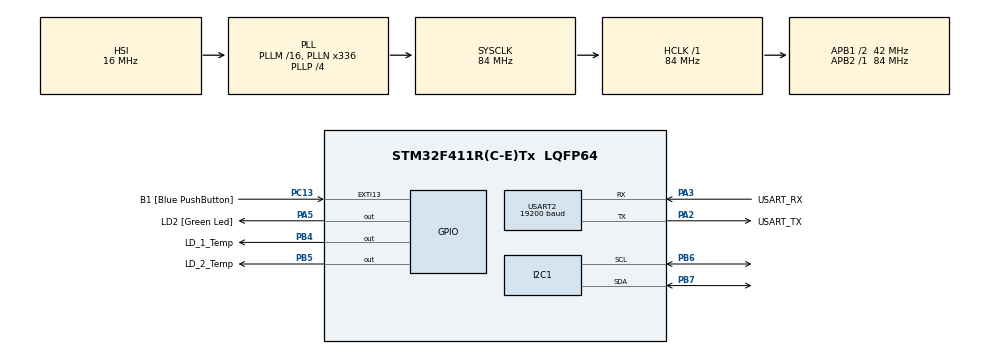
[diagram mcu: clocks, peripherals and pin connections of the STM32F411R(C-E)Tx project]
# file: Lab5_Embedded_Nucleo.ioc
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Mcu.Family=STM32F4
Mcu.Name=STM32F411R(C-E)Tx
Mcu.Package=LQFP64
NVIC.PriorityGroup=NVIC_PRIORITYGROUP_0
PA13.GPIO_Label=TMS
PA13.Mode=Serial_Wire
PA13.Signal=SYS_JTMS-SWDIO
PA14.GPIO_Label=TCK
PA14.Mode=Serial_Wire
PA14.Signal=SYS_JTCK-SWCLK
PA2.GPIO_Label=USART_TX
PA2.Mode=Asynchronous
PA2.Signal=USART2_TX
PA3.GPIO_Label=USART_RX
PA3.Mode=Asynchronous
PA3.Signal=USART2_RX
PA5.GPIO_Label=LD2 [Green Led]
PA5.Signal=GPIO_Output
PB3.GPIO_Label=SWO
PB3.Signal=SYS_JTDO-SWO
PB4.GPIO_Label=LD_1_Temp
PB4.Signal=GPIO_Output
PB5.GPIO_Label=LD_2_Temp
PB5.Signal=GPIO_Output
PB6.Mode=I2C
PB6.Signal=I2C1_SCL
PB7.Mode=I2C
PB7.Signal=I2C1_SDA
PC13-ANTI_TAMP.GPIO_Label=B1 [Blue PushButton]
PC13-ANTI_TAMP.GPIO_ModeDefaultEXTI=GPIO_MODE_IT_FALLING
PC13-ANTI_TAMP.Signal=GPXTI13
PC14-OSC32_IN.Mode=LSE-External-Oscillator
PC14-OSC32_IN.Signal=RCC_OSC32_IN
PC15-OSC32_OUT.Mode=LSE-External-Oscillator
PC15-OSC32_OUT.Signal=RCC_OSC32_OUT
PH0\ -\ OSC_IN.Mode=HSE-External-Clock-Source
PH0\ -\ OSC_IN.Signal=RCC_OSC_IN
PH1\ -\ OSC_OUT.Mode=HSE-External-Clock-Source
PH1\ -\ OSC_OUT.Signal=RCC_OSC_OUT
ProjectManager.HeapSize=0x200
ProjectManager.StackSize=0x400
ProjectManager.TargetToolchain=STM32CubeIDE
RCC.48MHZClocksFreq_Value=84000000
RCC.AHBFreq_Value=84000000
RCC.APB1CLKDivider=RCC_HCLK_DIV2
RCC.APB1Freq_Value=42000000
RCC.APB1TimFreq_Value=84000000
RCC.APB2Freq_Value=84000000
RCC.APB2TimFreq_Value=84000000
RCC.CortexFreq_Value=84000000
RCC.FLatency-AdvancedSettings=FLASH_LATENCY_2
RCC.HCLKFreq_Value=84000000
RCC.HSE_VALUE=8000000
RCC.HSI_VALUE=16000000
RCC.PLLN=336
RCC.PLLP=RCC_PLLP_DIV4
RCC.SYSCLKFreq_VALUE=84000000
RCC.SYSCLKSource=RCC_SYSCLKSOURCE_PLLCLK
RCC.VCOOutputFreq_Value=336000000
USART2.BaudRate=19200
USART2.VirtualMode=VM_ASYNC
board=NUCLEO-F411RE

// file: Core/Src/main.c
/* USER CODE BEGIN Header */
/**
  ******************************************************************************
  * @file           : main.c
  * @brief          : Main program body
  ******************************************************************************
  * @attention
  *
  * Copyright (c) 2023 STMicroelectronics.
  * All rights reserved.
  *
  * This software is licensed under terms that can be found in the LICENSE file
  * in the root directory of this software component.
  * If no LICENSE file comes with this software, it is provided AS-IS.
  *
  ******************************************************************************
  */
/* USER CODE END Header */
#include "main.h"

/* USER CODE BEGIN Includes */
//#include <stdio.h>
//#include <string.h>
/* USER CODE END Includes */

I2C_HandleTypeDef hi2c1;

UART_HandleTypeDef huart2;

void SystemClock_Config(void);
static void MX_GPIO_Init(void);
static void MX_USART2_UART_Init(void);
static void MX_I2C1_Init(void);

int main(void)
{

  /* MCU Configuration--------------------------------------------------------*/

  /* Reset of all peripherals, Initializes the Flash interface and the Systick. */
  HAL_Init();

  /* Configure the system clock */
  SystemClock_Config();

  /* Initialize all configured peripherals */
  MX_GPIO_Init();
  MX_USART2_UART_Init();
  MX_I2C1_Init();

  /* Infinite loop */
  /* USER CODE BEGIN WHILE */
  while (1)
    {
	uint8_t buffer[1];
	HAL_StatusTypeDef result;

	result = HAL_UART_Receive(&huart2, buffer, 1, 10);

	if(result == HAL_OK){
		if(buffer[0] < 15){
			HAL_GPIO_WritePin(GPIOB, LD_1_Temp_Pin, GPIO_PIN_SET);
			HAL_GPIO_WritePin(GPIOB, LD_2_Temp_Pin, GPIO_PIN_RESET);
		} else{
			HAL_GPIO_WritePin(GPIOB, LD_1_Temp_Pin, GPIO_PIN_SET);
			HAL_GPIO_WritePin(GPIOB, LD_2_Temp_Pin, GPIO_PIN_SET);
		}
	}
    /* USER CODE END WHILE */

    }
}

void SystemClock_Config(void)
{
  RCC_OscInitTypeDef RCC_OscInitStruct = {0};
  RCC_ClkInitTypeDef RCC_ClkInitStruct = {0};

  /** Configure the main internal regulator output voltage
  */
  __HAL_RCC_PWR_CLK_ENABLE();
  __HAL_PWR_VOLTAGESCALING_CONFIG(PWR_REGULATOR_VOLTAGE_SCALE1);

  /** Initializes the RCC Oscillators according to the specified parameters
  * in the RCC_OscInitTypeDef structure.
  */
  RCC_OscInitStruct.OscillatorType = RCC_OSCILLATORTYPE_HSI;
  RCC_OscInitStruct.HSIState = RCC_HSI_ON;
  RCC_OscInitStruct.HSICalibrationValue = RCC_HSICALIBRATION_DEFAULT;
  RCC_OscInitStruct.PLL.PLLState = RCC_PLL_ON;
  RCC_OscInitStruct.PLL.PLLSource = RCC_PLLSOURCE_HSI;
  RCC_OscInitStruct.PLL.PLLM = 16;
  RCC_OscInitStruct.PLL.PLLN = 336;
  RCC_OscInitStruct.PLL.PLLP = RCC_PLLP_DIV4;
  RCC_OscInitStruct.PLL.PLLQ = 4;
  if (HAL_RCC_OscConfig(&RCC_OscInitStruct) != HAL_OK)
  {
    Error_Handler();
  }

  /** Initializes the CPU, AHB and APB buses clocks
  */
  RCC_ClkInitStruct.ClockType = RCC_CLOCKTYPE_HCLK|RCC_CLOCKTYPE_SYSCLK
                              |RCC_CLOCKTYPE_PCLK1|RCC_CLOCKTYPE_PCLK2;
  RCC_ClkInitStruct.SYSCLKSource = RCC_SYSCLKSOURCE_PLLCLK;
  RCC_ClkInitStruct.AHBCLKDivider = RCC_SYSCLK_DIV1;
  RCC_ClkInitStruct.APB1CLKDivider = RCC_HCLK_DIV2;
  RCC_ClkInitStruct.APB2CLKDivider = RCC_HCLK_DIV1;

  if (HAL_RCC_ClockConfig(&RCC_ClkInitStruct, FLASH_LATENCY_2) != HAL_OK)
  {
    Error_Handler();
  }
}

static void MX_I2C1_Init(void)
{

  hi2c1.Instance = I2C1;
  hi2c1.Init.ClockSpeed = 100000;
  hi2c1.Init.DutyCycle = I2C_DUTYCYCLE_2;
  hi2c1.Init.OwnAddress1 = 0;
  hi2c1.Init.AddressingMode = I2C_ADDRESSINGMODE_7BIT;
  hi2c1.Init.DualAddressMode = I2C_DUALADDRESS_DISABLE;
  hi2c1.Init.OwnAddress2 = 0;
  hi2c1.Init.GeneralCallMode = I2C_GENERALCALL_DISABLE;
  hi2c1.Init.NoStretchMode = I2C_NOSTRETCH_DISABLE;
  if (HAL_I2C_Init(&hi2c1) != HAL_OK)
  {
    Error_Handler();
  }

}

static void MX_USART2_UART_Init(void)
{

  huart2.Instance = USART2;
  huart2.Init.BaudRate = 19200;
  huart2.Init.WordLength = UART_WORDLENGTH_8B;
  huart2.Init.StopBits = UART_STOPBITS_1;
  huart2.Init.Parity = UART_PARITY_NONE;
  huart2.Init.Mode = UART_MODE_TX_RX;
  huart2.Init.HwFlowCtl = UART_HWCONTROL_NONE;
  huart2.Init.OverSampling = UART_OVERSAMPLING_16;
  if (HAL_UART_Init(&huart2) != HAL_OK)
  {
    Error_Handler();
  }

}

static void MX_GPIO_Init(void)
{
  GPIO_InitTypeDef GPIO_InitStruct = {0};

  /* GPIO Ports Clock Enable */
  __HAL_RCC_GPIOC_CLK_ENABLE();
  __HAL_RCC_GPIOH_CLK_ENABLE();
  __HAL_RCC_GPIOA_CLK_ENABLE();
  __HAL_RCC_GPIOB_CLK_ENABLE();

  /*Configure GPIO pin Output Level */
  HAL_GPIO_WritePin(LD2_GPIO_Port, LD2_Pin, GPIO_PIN_RESET);

  /*Configure GPIO pin Output Level */
  HAL_GPIO_WritePin(GPIOB, LD_1_Temp_Pin|LD_2_Temp_Pin, GPIO_PIN_RESET);

  /*Configure GPIO pin : B1_Pin */
  GPIO_InitStruct.Pin = B1_Pin;
  GPIO_InitStruct.Mode = GPIO_MODE_IT_FALLING;
  GPIO_InitStruct.Pull = GPIO_NOPULL;
  HAL_GPIO_Init(B1_GPIO_Port, &GPIO_InitStruct);

  /*Configure GPIO pin : LD2_Pin */
  GPIO_InitStruct.Pin = LD2_Pin;
  GPIO_InitStruct.Mode = GPIO_MODE_OUTPUT_PP;
  GPIO_InitStruct.Pull = GPIO_NOPULL;
  GPIO_InitStruct.Speed = GPIO_SPEED_FREQ_LOW;
  HAL_GPIO_Init(LD2_GPIO_Port, &GPIO_InitStruct);

  /*Configure GPIO pins : LD_1_Temp_Pin LD_2_Temp_Pin */
  GPIO_InitStruct.Pin = LD_1_Temp_Pin|LD_2_Temp_Pin;
  GPIO_InitStruct.Mode = GPIO_MODE_OUTPUT_PP;
  GPIO_InitStruct.Pull = GPIO_NOPULL;
  GPIO_InitStruct.Speed = GPIO_SPEED_FREQ_LOW;
  HAL_GPIO_Init(GPIOB, &GPIO_InitStruct);

}

/* USER CODE BEGIN 4 */
int _write(int file, char *ptr, int len)
{
 (void)file;
 int DataIdx;

 for (DataIdx = 0; DataIdx < len; DataIdx++)
 {
   ITM_SendChar(*ptr++);
 }
 return len;
}
/* USER CODE END 4 */

void Error_Handler(void)
{
  __disable_irq();
  while (1)
  {
  }
}
